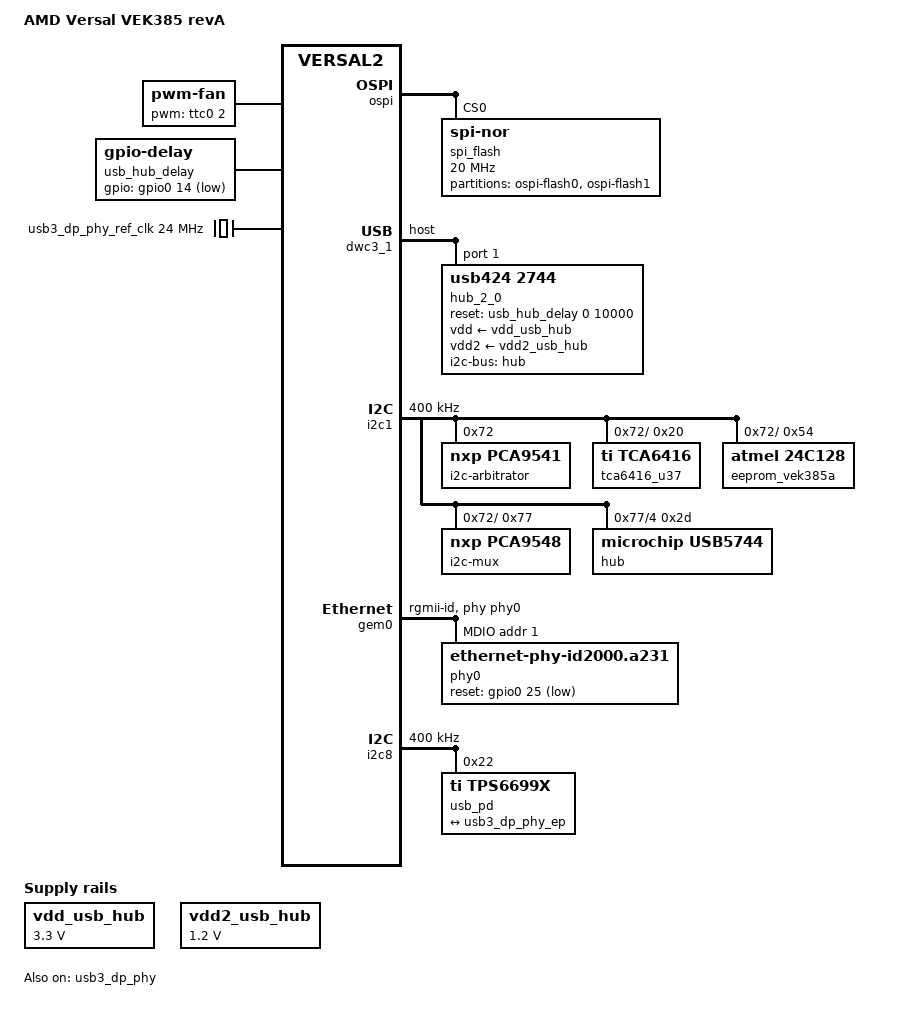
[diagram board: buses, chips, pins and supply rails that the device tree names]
// SPDX-License-Identifier: GPL-2.0
/*
 * dts file for AMD VEK385 revA
 *
 * Copyright (C) 2024 - 2026, Advanced Micro Devices, Inc.
 *
 * Michal Simek <michal.simek@amd.com>
 */

#include "include/gpio/gpio.h"
#include "include/net/ti-dp83867.h"

/ {
	compatible = "amd,versal2-vek385-revA", "amd,versal2-vek385", "amd,versal2";
	model = "AMD Versal VEK385 revA";

	chosen {
		bootargs = "earlycon=pl011,mmio32,0xf1930000 console=ttyAMA1,115200";
		stdout-path = "serial1:115200n8";
	};

	aliases {
		nvmem0 = &eeprom;
	};

	reserved-memory {
		#address-cells = <2>;
		#size-cells = <2>;
		ranges;

		/* TF-A, TEE, RPUs */
		/* FIXME Uncomment after VNC */
		/* res: memory@0 {
			no-map;
			reg = <0 0 0 0x20000000>;
		};
		*/
	};

	pwm-fan {
		compatible = "pwm-fan";
		pwms = <&ttc0 2 40000 1>;
	};

	usb_hub_delay: enable-delay {
		compatible = "gpio-delay";
		#gpio-cells = <3>;
		gpio-controller;
		gpios = <&gpio0 14 GPIO_ACTIVE_LOW>;
	};

	vdd_usb_hub: regulator-vdd-usb-hub {
		compatible = "regulator-fixed";
		regulator-name = "vdd_usb_hub";
		regulator-min-microvolt = <3300000>;
		regulator-max-microvolt = <3300000>;
		regulator-always-on;
		regulator-boot-on;
	};

	vdd2_usb_hub: regulator-vdd2-usb-hub {
		compatible = "regulator-fixed";
		regulator-name = "vdd2_usb_hub";
		regulator-min-microvolt = <1200000>;
		regulator-max-microvolt = <1200000>;
		regulator-always-on;
		regulator-boot-on;
	};

	/* CLK95314 OUT3 provides a dedicated 24 MHz LVDS reference clock to the USB3 PHY */
	usb3_dp_phy_ref_clk: usb3-phy-ref-clk {
		bootph-all;
		compatible = "fixed-clock";
		#clock-cells = <0>;
		clock-frequency = <24000000>;
	};
};

/* u272 - TPS66993BAR usb, i2c, DP */
/* CAN at LPD_MIO12-13 FIXME */
/* CAN at LPD_MIO21-22 FIXME */

&ospi { /* PMC_MIO0-10, MIO12 */
	reset-names = "qspi";
	#address-cells = <1>;
	#size-cells = <0>;

	spi_flash: flash@0 {
		compatible = "jedec,spi-nor"; /* u25 */
		spi-max-frequency = <20000000>; /* FIXME maybe wrong */
		spi-rx-bus-width = <8>;
		spi-tx-bus-width = <8>;
		cdns,tslch-ns = <1>;
		cdns,tchsh-ns = <1>;
		cdns,tsd2d-ns = <0>;
		cdns,tshsl-ns = <0>;
		cdns,read-delay = <0>;
		reg = <0>;
		no-wp;

		partitions {
			#size-cells = <1>;
			#address-cells = <1>;
			compatible = "fixed-partitions";

			partition@0 {
				reg = <0x0 0x200000>;
				label = "ospi-flash0";
			};

			partition@1 {
				reg = <0x200000 0x3e00000>;
				label = "ospi-flash1";
			};
		};
	};
};

&ufshc { /* PMC_MIO24-25 */
	dma-coherent;
};

&usb1 {
	dma-coherent;
};

&dwc3_1 {
	dr_mode = "host";
	maximum-speed = "high-speed";
	dma-coherent;
	#address-cells = <1>;
	#size-cells = <0>;

	/* 2.0 hub on port 1 */
	hub_2_0: hub@1 {
		compatible = "usb424,2744";
		reg = <1>;
		i2c-bus = <&hub>;
		reset-gpios = <&usb_hub_delay 0 10000 10000>;
		vdd-supply = <&vdd_usb_hub>;
		vdd2-supply = <&vdd2_usb_hub>;
	};
	/* USB 3.0 is not connected */
	/* port 0 u109 USB-SD converter */
	/* port 1/2 to connector */
};

&i2c0 { /* PMC_MIO42-43 */
	/* board_i2c0 - FMC */
};

&i2c1 { /* PMC_MIO44-45 */
	#address-cells = <1>;
	#size-cells = <0>;
	bootph-all;
	clock-frequency = <400000>;

	i2c-arbitrator@72 { /* u161 */
		compatible = "nxp,pca9541";
		bootph-all;
		reg = <0x72>;

		/* board_i2c1 */
		i2c-arb {
			#address-cells = <1>;
			#size-cells = <0>;
			/*
			 * WARNING: Potential Conflict!
			 * The TCA6416 GPIO expander device is currently owned by SC as well.
			 * This design results in two software components potentially conflicting
			 * over control of the device. While no immediate issues are observed
			 * due to limited interactions.
			 * FIXME - The schematics should be revised to avoid conflicts.
			 */
			tca6416_u37: gpio@20 {
				compatible = "ti,tca6416";
				reg = <0x20>;
				#gpio-cells = <0x02>;
				gpio-controller;
			};
			eeprom: eeprom@54 { /* u35 - also at address 0x5C */
				compatible = "atmel,24c128";
				label = "eeprom_vek385a";
				bootph-all;
				reg = <0x54>;
				/* wp via SC */
			};

			i2c-mux@77 { /* u253 */
				compatible = "nxp,pca9548";
				#address-cells = <1>;
				#size-cells = <0>;
				reg = <0x77>;
				i2c-mux-idle-disconnect;
				i2c@0 {
					#address-cells = <1>;
					#size-cells = <0>;
					reg = <0>;
					/* qsfp1 */
				};
				i2c@1 {
					#address-cells = <1>;
					#size-cells = <0>;
					reg = <1>;
					/* sfp */
				};
				i2c@3 {
					#address-cells = <1>;
					#size-cells = <0>;
					reg = <3>;
					/* pcie_rp */
				};
				i2c@4 {
					#address-cells = <1>;
					#size-cells = <0>;
					reg = <4>;
					/* usb0_hub */
					hub: usb-hub@2d { /* u111 */
						compatible = "microchip,usb5744";
						reg = <0x2d>;
					};

				};
				/* 5 - 7 not connected */
			};
		};
	};
};

&ttc0 { /* PMC_MIO49 FAN_PWM */
	#pwm-cells = <3>;
};

&adma0 {
	dma-coherent;
};

&adma1 {
	dma-coherent;
};

&adma2 {
	dma-coherent;
};

&adma3 {
	dma-coherent;
};

&adma4 {
	dma-coherent;
};

&adma5 {
	dma-coherent;
};

&adma6 {
	dma-coherent;
};

&adma7 {
	dma-coherent;
};

&gem0 { /* MDIO PMC_MIO50/51, MIO0-11 */
	phy-handle = <&phy0>;
	phy-mode = "rgmii-id";
	dma-coherent;

	mdio: mdio {
		#address-cells = <1>;
		#size-cells = <0>;

		phy0: ethernet-phy@1 { /* u112 */
			#phy-cells = <1>;
			reg = <1>;
			compatible = "ethernet-phy-id2000.a231";
			ti,rx-internal-delay = <DP83867_RGMIIDCTL_2_25_NS>;
			ti,tx-internal-delay = <DP83867_RGMIIDCTL_2_75_NS>;
			ti,fifo-depth = <DP83867_PHYCR_FIFO_DEPTH_4_B_NIB>;
			ti,dp83867-rxctrl-strap-quirk;
			reset-assert-us = <100>;
			reset-deassert-us = <280>;
			reset-gpios = <&gpio0 25 GPIO_ACTIVE_LOW>;
		};
	};
};

&mdb_pcie0 {
	pcie@0,0 {
		device_type = "pci";
		reg = <0x0 0x0 0x0 0x0 0x0>;
		reset-gpios = <&tca6416_u37 7 GPIO_ACTIVE_LOW>;
		#address-cells = <3>;
		#size-cells = <2>;
		ranges;
	};
};

&mmi_10gbe {
	phy-mode = "10gbase-r";
	fixed-link {
		speed = <10000>;
		full-duplex;
	};
};

/* TI USB-C PD (TPS6699x) on PMC I2C + Versal combo USB-C / DP TX PHY. */
&i2c8 {
	status = "okay";
	#address-cells = <1>;
	#size-cells = <0>;
	clock-frequency = <400000>;

	usb_pd: usb-pd@22 {
		compatible = "ti,tps6699x";
		reg = <0x22>;

		connector {
			compatible = "usb-c-connector";
			label = "USB-C";
			data-role = "dual";

			ports {
				#address-cells = <1>;
				#size-cells = <0>;

				port@1 {
					reg = <1>;

					tipd_connector_ep: endpoint {
						remote-endpoint = <&usb3_dp_phy_ep>;
					};
				};
			};
		};
	};
};

&usb3_dp_phy {
	status = "okay";
	clocks = <&usb3_dp_phy_ref_clk>;

	port {
		usb3_dp_phy_ep: endpoint {
			remote-endpoint = <&tipd_connector_ep>;
		};
	};
};


